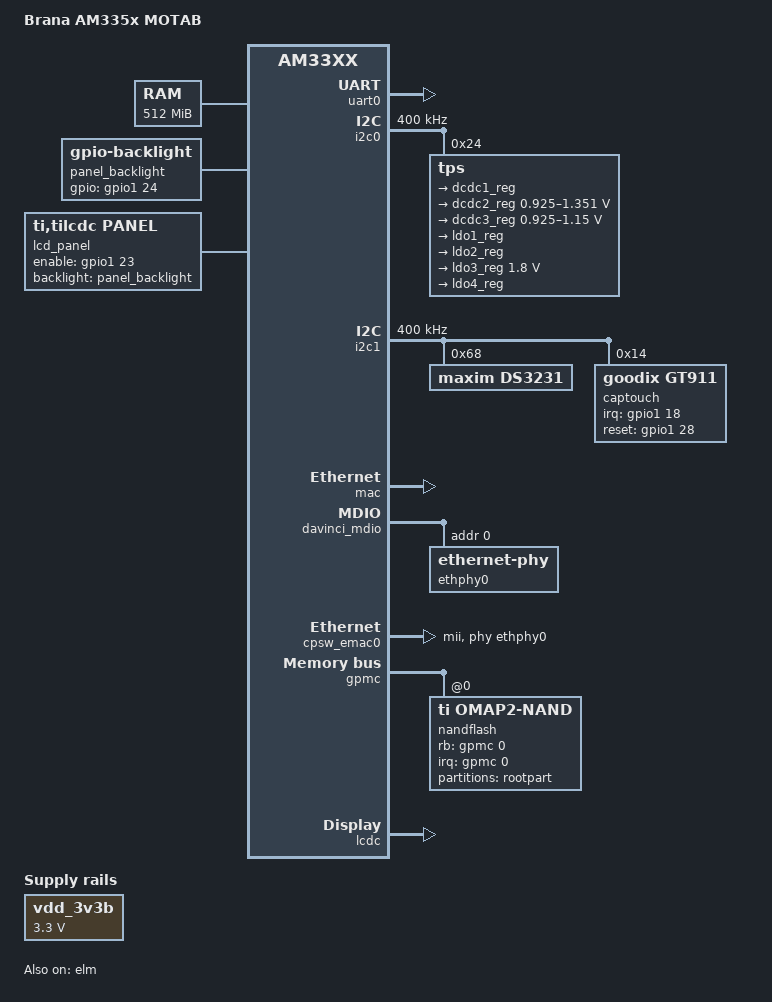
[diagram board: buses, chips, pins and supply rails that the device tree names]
/*
 * Copyright (C) 2020 Brana Electromech 
 */
/dts-v1/;

#include "am33xx.dtsi"
#include <dt-bindings/interrupt-controller/irq.h>

/ {
  model = "Brana AM335x MOTAB";
  compatible = "brana,am335x-motab", "ti,am33xx";

  cpus {
    cpu@0 {
      cpu0-supply = <&dcdc2_reg>;
    };
  };

  memory@80000000 {
    device_type = "memory";
    reg = <0x80000000 0x20000000>; /* 512 MB */
  };

//	reserved-memory {
//		#address-cells = <0x01>;
//		#size-cells = <0x01>;
//		ranges;
//
//		framebuffer_rsvmem: framebuffer@9ef00000 {
//			reg = <0x9ef00000 0x10f0000>;
//			no-map;
//		};
//	};

  chosen {
    #address-cells = <1>;
    #size-cells = <1>;
    ranges;
    stdout-path = &uart0;

//    bootargs = "console=ttyS0,115200 ubi.mtd=0 root=ubi0:rootfs rootfstype=ubifs rw rootwait drm.debug=0x1ff lpj=4980736";
//    bootargs = "console=ttyS0,115200 ubi.mtd=0 root=ubi0:rootfs rootfstype=ubifs rw rootwait lpj=4980736";
//    bootargs = "console=ttyS0,115200 ubi.mtd=0 root=ubi0:rootfs rootfstype=ubifs rw rootwait drm.debug=0x17";


//    framebuffer@9ef00020 {
//      compatible = "simple-framebuffer";
//
//      reg = <0x9ef00020 0xbb800>;
//      width = <0x320>;
//      height = <0x1e0>;
//      stride = <0x640>;
//      format = "r5g6b5";
//      status = "okay";
//
//      clocks = <&dpll_disp_m2_ck>, <&dpll_per_m2_ck>;
//      display = <&lcdc>;
//      panel = <&lcd_panel>;
//    };

  };

  vdd_3v3b: fixedregulator0 {
    compatible = "regulator-fixed";
    regulator-name = "vdd_3v3b";
    regulator-min-microvolt = <3300000>;
    regulator-max-microvolt = <3300000>;
  };

  panel_backlight: panel_backlight0 {
    compatible = "gpio-backlight";
    gpios = <&gpio1 24 GPIO_ACTIVE_HIGH>;
  };

  lcd_panel: lcd_panel0 {
//    compatible = "innolux,at070tn92";
    compatible = "ti,tilcdc,panel";
    pinctrl-names = "default";
    pinctrl-0 = <&lcdc_pins>;
    enable-gpios = <&gpio1 23 GPIO_ACTIVE_HIGH>;
    backlight = <&panel_backlight>;

//    status = "disabled";

    display-timings {
      native-mode = <&timing0>;
      timing0: 800x480 {
        hactive         = <800>;
        vactive         = <480>;
        hback-porch     = <46>;
        hfront-porch    = <210>;
        hsync-len       = <10>;
        vback-porch     = <23>;
        vfront-porch    = <22>;
        vsync-len       = <10>;
        clock-frequency = <34250000>;
        hsync-active    = <1>;
        vsync-active    = <1>;
      };
    };

    panel-info {
      ac-bias           = <255>;
      ac-bias-intrpt    = <0>;
      dma-burst-sz      = <16>;
      bpp               = <16>;
      fdd               = <0x80>;
//      tft-alt-mode      = <0>;
//      invert-pxl-clk    = <0>;
      sync-edge         = <0>;
      sync-ctrl         = <1>;
      raster-order      = <0>;
      fifo-th           = <0>;
    };

//    port {
//      panel_0: endpoint@0 {
//       remote-endpoint = <&lcdc_0>;
//      };
//    };
  };
};

//*****************************************************************************
&am33xx_pinmux {
  uart0_pins: uart0_pins_default {
    pinctrl-single,pins = <
      AM33XX_PADCONF(AM335X_PIN_UART0_RXD, PIN_INPUT_PULLUP,    MUX_MODE0) /* E15 */
      AM33XX_PADCONF(AM335X_PIN_UART0_TXD, PIN_OUTPUT_PULLDOWN, MUX_MODE0) /* E16 */
    >;
  };
};

&uart0 {
  pinctrl-names = "default";
  pinctrl-0 = <&uart0_pins>;
  status = "okay";
};

//*****************************************************************************
&am33xx_pinmux {
  i2c0_pins: i2c0_pins_default {
    pinctrl-single,pins = <
      AM33XX_PADCONF(AM335X_PIN_I2C0_SDA, PIN_INPUT, MUX_MODE0) /* C17 */
      AM33XX_PADCONF(AM335X_PIN_I2C0_SCL, PIN_INPUT, MUX_MODE0) /* C16 */
    >;
  };
};

&i2c0 {
  pinctrl-names = "default";
  pinctrl-0 = <&i2c0_pins>;
  status = "okay";
  clock-frequency = <400000>;

  tps: tps@24 {
    reg = <0x24>;
  };

  // sMCU

};

#include "tps65217.dtsi"
//#include "../../tps65217.dtsi"

&tps {
  interrupts = <7>; /* NMI */
  interrupt-parent = <&intc>;

  ti,pmic-shutdown-controller;

  regulators {
    dcdc1_reg: regulator@0 {
      regulator-name = "vdds_ddr";
      regulator-always-on;
    };

    dcdc2_reg: regulator@1 {
      /* VDD_MPU voltage limits 0.95V - 1.26V with +/-4% tolerance */
      regulator-name = "vdd_mpu";
      regulator-min-microvolt = <925000>;
      regulator-max-microvolt = <1351500>;
      regulator-boot-on;
      regulator-always-on;
    };

    dcdc3_reg: regulator@2 {
      /* VDD_CORE voltage limits 0.95V - 1.1V with +/-4% tolerance */
      regulator-name = "vdd_core";
      regulator-min-microvolt = <925000>;
      regulator-max-microvolt = <1150000>;
      regulator-boot-on;
      regulator-always-on;
    };

    ldo1_reg: regulator@3 {
      regulator-name = "vio,vrtc,vdds";
      regulator-always-on;
    };

    ldo2_reg: regulator@4 {
      regulator-name = "vdd_3v3aux";
      regulator-always-on;
    };

    ldo3_reg: regulator@5 {
      regulator-name = "vdd_1v8";
      regulator-min-microvolt = <1800000>;
      regulator-max-microvolt = <1800000>;
      regulator-always-on;
    };

    ldo4_reg: regulator@6 {
      regulator-name = "vdd_3v3a";
      regulator-always-on;
    };
  };   
};

//*****************************************************************************
&am33xx_pinmux {
  i2c1_pins: i2c1_pins_default {
    pinctrl-single,pins = <
      AM33XX_PADCONF(AM335X_PIN_UART1_RXD, PIN_INPUT, MUX_MODE3) /* (D16) uart1_rxd.I2C1_SDA */
      AM33XX_PADCONF(AM335X_PIN_UART1_TXD, PIN_INPUT, MUX_MODE3) /* (D15) uart1_txd.I2C1_SCL */
    >;
  };
};

&i2c1 {
  pinctrl-names = "default";
  pinctrl-0 = <&i2c1_pins>;

  status = "okay";
  clock-frequency = <400000>;

  // RTC
  ds3231: ds3231@68 {
    compatible = "maxim,ds3231";
    reg = <0x68>;
  };

  // captouch
	captouch: gt911@14 {
		compatible = "goodix,gt911";
		interrupt-parent = <&gpio1>;
		interrupts = <18 IRQ_TYPE_EDGE_FALLING>;
		irq-gpios = <&gpio1 18 GPIO_ACTIVE_HIGH>;
		reg = <0x14>;
		reset-gpios = <&gpio1 28 GPIO_ACTIVE_HIGH>;
		status = "okay";
//		touchscreen-inverted-y;
		touchscreen-size-x = <800>;
		touchscreen-size-y = <480>;
	};
};
//*****************************************************************************
&am33xx_pinmux {
  cpsw_default: cpsw_default {
    pinctrl-single,pins = <
      AM33XX_PADCONF(AM335X_PIN_MII1_COL,    PIN_INPUT_PULLUP,    MUX_MODE0) /* (H16) gmii1_col.gmii1_col */
      AM33XX_PADCONF(AM335X_PIN_MII1_CRS,    PIN_INPUT_PULLUP,    MUX_MODE0) /* (H17) gmii1_crs.gmii1_crs */
      AM33XX_PADCONF(AM335X_PIN_MII1_RX_ER,  PIN_INPUT_PULLUP,    MUX_MODE0) /* (J15) gmii1_rxer.gmii1_rxer */
      AM33XX_PADCONF(AM335X_PIN_MII1_TX_EN,  PIN_OUTPUT_PULLDOWN, MUX_MODE0) /* (J16) gmii1_txen.gmii1_txen */
      AM33XX_PADCONF(AM335X_PIN_MII1_RX_DV,  PIN_INPUT_PULLUP,    MUX_MODE0) /* (J17) gmii1_rxdv.gmii1_rxdv */
      AM33XX_PADCONF(AM335X_PIN_MII1_TX_CLK, PIN_INPUT_PULLUP,    MUX_MODE0) /* (K18) gmii1_txclk.gmii1_txclk */
      AM33XX_PADCONF(AM335X_PIN_MII1_RX_CLK, PIN_INPUT_PULLUP,    MUX_MODE0) /* (L18) gmii1_rxclk.gmii1_rxclk */
      AM33XX_PADCONF(AM335X_PIN_MII1_TXD0,   PIN_OUTPUT_PULLDOWN, MUX_MODE0) /* (K17) gmii1_txd0.gmii1_txd0 */
      AM33XX_PADCONF(AM335X_PIN_MII1_TXD1,   PIN_OUTPUT_PULLDOWN, MUX_MODE0) /* (K16) gmii1_txd1.gmii1_txd1 */
      AM33XX_PADCONF(AM335X_PIN_MII1_TXD2,   PIN_OUTPUT_PULLDOWN, MUX_MODE0) /* (K15) gmii1_txd2.gmii1_txd2 */
      AM33XX_PADCONF(AM335X_PIN_MII1_TXD3,   PIN_OUTPUT_PULLDOWN, MUX_MODE0) /* (J18) gmii1_txd3.gmii1_txd3 */
      AM33XX_PADCONF(AM335X_PIN_MII1_RXD0,   PIN_INPUT_PULLUP,    MUX_MODE0) /* (M16) gmii1_rxd0.gmii1_rxd0 */
      AM33XX_PADCONF(AM335X_PIN_MII1_RXD1,   PIN_INPUT_PULLUP,    MUX_MODE0) /* (L15) gmii1_rxd1.gmii1_rxd1 */
      AM33XX_PADCONF(AM335X_PIN_MII1_RXD2,   PIN_INPUT_PULLUP,    MUX_MODE0) /* (L16) gmii1_rxd2.gmii1_rxd2 */
      AM33XX_PADCONF(AM335X_PIN_MII1_RXD3,   PIN_INPUT_PULLUP,    MUX_MODE0) /* (L17) gmii1_rxd3.gmii1_rxd3 */
    >;
  };
};

&mac {
  pinctrl-names = "default";
  pinctrl-0 = <&cpsw_default>;
  status = "okay";
  slaves = <1>;
};

&am33xx_pinmux {
  davinci_mdio_default: davinci_mdio_default {
    pinctrl-single,pins = <
      AM33XX_PADCONF(AM335X_PIN_MDC,  PIN_OUTPUT_PULLUP, MUX_MODE0) /* (M18) mdio_clk.mdio_clk */
      AM33XX_PADCONF(AM335X_PIN_MDIO, PIN_INPUT_PULLUP,  MUX_MODE0) /* (M17) mdio_data.mdio_data */
    >;
  };
};

&davinci_mdio {
  pinctrl-names = "default";
  pinctrl-0 = <&davinci_mdio_default>;
  status = "okay";

  ethphy0: ethernet-phy@0 {
    reg = <0>;
  };
};

&cpsw_emac0 {
  phy-handle = <&ethphy0>;
  phy-mode = "mii";
};

//*****************************************************************************
&am33xx_pinmux {
  nandflash_pins: nandflash_pins {
    pinctrl-single,pins = <
      AM33XX_PADCONF(AM335X_PIN_GPMC_AD0,      PIN_INPUT_PULLDOWN,  MUX_MODE0)
      AM33XX_PADCONF(AM335X_PIN_GPMC_AD1,      PIN_INPUT_PULLDOWN,  MUX_MODE0)
      AM33XX_PADCONF(AM335X_PIN_GPMC_AD2,      PIN_INPUT_PULLDOWN,  MUX_MODE0)
      AM33XX_PADCONF(AM335X_PIN_GPMC_AD3,      PIN_INPUT_PULLDOWN,  MUX_MODE0)
      AM33XX_PADCONF(AM335X_PIN_GPMC_AD4,      PIN_INPUT_PULLDOWN,  MUX_MODE0)
      AM33XX_PADCONF(AM335X_PIN_GPMC_AD5,      PIN_INPUT_PULLDOWN,  MUX_MODE0)
      AM33XX_PADCONF(AM335X_PIN_GPMC_AD6,      PIN_INPUT_PULLDOWN,  MUX_MODE0)
      AM33XX_PADCONF(AM335X_PIN_GPMC_AD7,      PIN_INPUT_PULLDOWN,  MUX_MODE0)
      AM33XX_PADCONF(AM335X_PIN_GPMC_CSN0,     PIN_OUTPUT,          MUX_MODE0)
      AM33XX_PADCONF(AM335X_PIN_GPMC_WAIT0,    PIN_INPUT,           MUX_MODE0)
      AM33XX_PADCONF(AM335X_PIN_GPMC_OEN_REN,  PIN_OUTPUT_PULLUP,   MUX_MODE0)
      AM33XX_PADCONF(AM335X_PIN_GPMC_WEN,      PIN_OUTPUT_PULLUP,   MUX_MODE0)
      AM33XX_PADCONF(AM335X_PIN_GPMC_ADVN_ALE, PIN_OUTPUT_PULLDOWN, MUX_MODE0)
      AM33XX_PADCONF(AM335X_PIN_GPMC_BEN0_CLE, PIN_OUTPUT_PULLDOWN, MUX_MODE0)
      AM33XX_PADCONF(AM335X_PIN_GPMC_WPN,      PIN_OUTPUT,          MUX_MODE0)
    >;
  };
};

&gpmc {
  pinctrl-names = "default";
  pinctrl-0 = <&nandflash_pins>;
  ranges = <0 0 0x08000000 0x8000000>; /* CS0 for 128 MiB chip */
  status = "okay";

  nandflash: nand@0,0 {
    compatible = "ti,omap2-nand";
    reg = <0 0 4>; /* CS0, offset 0, IO size 4 */
    interrupt-parent = <&gpmc>;
    interrupts = <0 IRQ_TYPE_NONE>, /* fifoevent */
                 <1 IRQ_TYPE_NONE>; /* termcount */
    rb-gpios = <&gpmc 0 GPIO_ACTIVE_HIGH>; /* gpmc_wait0 */
    ti,nand-ecc-opt = "bch8";
    ti,elm-id = <&elm>;
    nand-bus-width = <8>;
    gpmc,device-nand = "true";
    gpmc,device-width = <1>;
    gpmc,sync-clk-ps = <0>;
    gpmc,cs-on-ns = <0>;
    gpmc,cs-rd-off-ns = <30>;
    gpmc,cs-wr-off-ns = <30>;
    gpmc,adv-on-ns = <0>;
    gpmc,adv-rd-off-ns = <30>;
    gpmc,adv-wr-off-ns = <30>;
    gpmc,we-on-ns = <0>;
    gpmc,we-off-ns = <20>;
    gpmc,oe-on-ns = <10>;
    gpmc,oe-off-ns = <30>;
    gpmc,access-ns = <30>;
    gpmc,rd-cycle-ns = <30>;
    gpmc,wr-cycle-ns = <30>;
    gpmc,bus-turnaround-ns = <0>;
    gpmc,cycle2cycle-delay-ns = <50>;
    gpmc,clk-activation-ns = <0>;
    gpmc,wait-monitoring-ns = <0>;
    gpmc,wr-access-ns = <30>;
    gpmc,wr-data-mux-bus-ns = <0>;

    #address-cells = <1>;
    #size-cells = <1>;

    /* MTD partition table */
    partition@0 {
      label = "rootpart";
      reg = <0x00000000 0x8000000>;
    };
  };
};

&elm {
	status = "okay";
};

//*****************************************************************************
&am33xx_pinmux {
  lcdc_pins: lcdc_pins_default {
    pinctrl-single,pins = <
      AM33XX_PADCONF(AM335X_PIN_LCD_DATA0,      PIN_OUTPUT, MUX_MODE0) /* (R1) lcd_data0.lcd_data0 */
      AM33XX_PADCONF(AM335X_PIN_LCD_DATA1,      PIN_OUTPUT, MUX_MODE0) /* (R2) lcd_data1.lcd_data1 */
      AM33XX_PADCONF(AM335X_PIN_LCD_DATA2,      PIN_OUTPUT, MUX_MODE0) /* (R3) lcd_data2.lcd_data2 */
      AM33XX_PADCONF(AM335X_PIN_LCD_DATA3,      PIN_OUTPUT, MUX_MODE0) /* (R4) lcd_data3.lcd_data3 */
      AM33XX_PADCONF(AM335X_PIN_LCD_DATA4,      PIN_OUTPUT, MUX_MODE0) /* (T1) lcd_data4.lcd_data4 */
      AM33XX_PADCONF(AM335X_PIN_LCD_DATA5,      PIN_OUTPUT, MUX_MODE0) /* (T2) lcd_data5.lcd_data5 */
      AM33XX_PADCONF(AM335X_PIN_LCD_DATA6,      PIN_OUTPUT, MUX_MODE0) /* (T3) lcd_data6.lcd_data6 */
      AM33XX_PADCONF(AM335X_PIN_LCD_DATA7,      PIN_OUTPUT, MUX_MODE0) /* (T4) lcd_data7.lcd_data7 */
      AM33XX_PADCONF(AM335X_PIN_LCD_DATA8,      PIN_OUTPUT, MUX_MODE0) /* (U1) lcd_data8.lcd_data8 */
      AM33XX_PADCONF(AM335X_PIN_LCD_DATA9,      PIN_OUTPUT, MUX_MODE0) /* (U2) lcd_data9.lcd_data9 */
      AM33XX_PADCONF(AM335X_PIN_LCD_DATA10,     PIN_OUTPUT, MUX_MODE0) /* (U3) lcd_data10.lcd_data10 */
      AM33XX_PADCONF(AM335X_PIN_LCD_DATA11,     PIN_OUTPUT, MUX_MODE0) /* (U4) lcd_data11.lcd_data11 */
      AM33XX_PADCONF(AM335X_PIN_LCD_DATA12,     PIN_OUTPUT, MUX_MODE0) /* (V2) lcd_data12.lcd_data12 */
      AM33XX_PADCONF(AM335X_PIN_LCD_DATA13,     PIN_OUTPUT, MUX_MODE0) /* (V3) lcd_data13.lcd_data13 */
      AM33XX_PADCONF(AM335X_PIN_LCD_DATA14,     PIN_OUTPUT, MUX_MODE0) /* (V4) lcd_data14.lcd_data14 */
      AM33XX_PADCONF(AM335X_PIN_LCD_DATA15,     PIN_OUTPUT, MUX_MODE0) /* (T5) lcd_data15.lcd_data15 */
      AM33XX_PADCONF(AM335X_PIN_LCD_VSYNC,      PIN_OUTPUT, MUX_MODE0) /* (U5) lcd_vsync.lcd_vsync */
      AM33XX_PADCONF(AM335X_PIN_LCD_HSYNC,      PIN_OUTPUT, MUX_MODE0) /* (R5) lcd_hsync.lcd_hsync */
      AM33XX_PADCONF(AM335X_PIN_LCD_PCLK,       PIN_OUTPUT, MUX_MODE0) /* (V5) lcd_pclk.lcd_pclk */
      AM33XX_PADCONF(AM335X_PIN_LCD_AC_BIAS_EN, PIN_OUTPUT, MUX_MODE0) /* (R6) lcd_ac_bias_en.lcd_ac_bias_en */
    >;
  };
};

&lcdc {
//  blue-and-red-wiring = "crossed";
  status = "okay";

//  port {
//    lcdc_0: endpoint@0 {
//      remote-endpoint = <&panel_0>;
//    };
//  };
};


